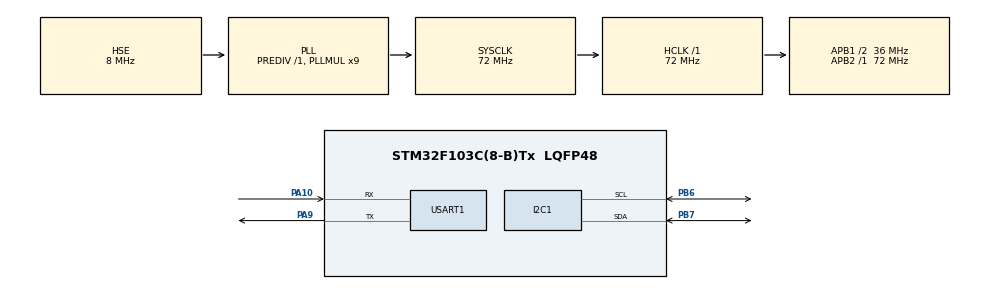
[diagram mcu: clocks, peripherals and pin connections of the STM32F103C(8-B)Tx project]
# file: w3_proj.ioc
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I2C1.DutyCycle=I2C_DUTYCYCLE_2
I2C1.I2C_Mode=I2C_Fast
Mcu.Family=STM32F1
Mcu.Name=STM32F103C(8-B)Tx
Mcu.Package=LQFP48
NVIC.PriorityGroup=NVIC_PRIORITYGROUP_4
NVIC.TIM2_IRQn=true\:5\:0\:true\:false\:true\:true\:true\:true
NVIC.USART1_IRQn=true\:0\:0\:false\:false\:true\:true\:true\:true
PA10.Mode=Asynchronous
PA10.Signal=USART1_RX
PA13.Mode=Serial_Wire
PA13.Signal=SYS_JTMS-SWDIO
PA14.Mode=Serial_Wire
PA14.Signal=SYS_JTCK-SWCLK
PA9.Mode=Asynchronous
PA9.Signal=USART1_TX
PB6.Mode=I2C
PB6.Signal=I2C1_SCL
PB7.Mode=I2C
PB7.Signal=I2C1_SDA
PD0-OSC_IN.Mode=HSE-External-Oscillator
PD0-OSC_IN.Signal=RCC_OSC_IN
PD1-OSC_OUT.Mode=HSE-External-Oscillator
PD1-OSC_OUT.Signal=RCC_OSC_OUT
ProjectManager.HeapSize=0x200
ProjectManager.StackSize=0x400
ProjectManager.TargetToolchain=Makefile
RCC.AHBFreq_Value=72000000
RCC.APB1CLKDivider=RCC_HCLK_DIV2
RCC.APB1Freq_Value=36000000
RCC.APB1TimFreq_Value=72000000
RCC.APB2Freq_Value=72000000
RCC.APB2TimFreq_Value=72000000
RCC.HCLKFreq_Value=72000000
RCC.PLLMUL=RCC_PLL_MUL9
RCC.PLLSourceVirtual=RCC_PLLSOURCE_HSE
RCC.SYSCLKFreq_VALUE=72000000
RCC.SYSCLKSource=RCC_SYSCLKSOURCE_PLLCLK
RCC.USBFreq_Value=72000000
TIM2.Period=10000-1
TIM2.Prescaler=72-1
USART1.VirtualMode=VM_ASYNC
VP_TIM2_VS_ClockSourceINT.Mode=Internal
board=custom

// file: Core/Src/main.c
/* USER CODE BEGIN Header */
/**
 ******************************************************************************
 * @file           : main.c
 * @brief          : Main program body
 ******************************************************************************
 * @attention
 *
 * Copyright (c) 2026 STMicroelectronics.
 * All rights reserved.
 *
 * This software is licensed under terms that can be found in the LICENSE file
 * in the root directory of this software component.
 * If no LICENSE file comes with this software, it is provided AS-IS.
 *
 ******************************************************************************
 */
/* USER CODE END Header */
#include "main.h"

/* USER CODE BEGIN Includes */
#include "OLED.h"
#include "math.h"
/* USER CODE END Includes */

I2C_HandleTypeDef hi2c1;

TIM_HandleTypeDef htim2;

UART_HandleTypeDef huart1;

void SystemClock_Config(void);
static void MX_GPIO_Init(void);
static void MX_I2C1_Init(void);
static void MX_TIM2_Init(void);
static void MX_USART1_UART_Init(void);

/* USER CODE BEGIN 0 */

enum
{
  Idle = 0,
  Processing,
} volatile wave_state = Idle;
/**
 * [0]: Sine wave    T = 1s   -> 1s / 10ms = 100 points
 * [1]: Sawtooth     T = 0.5s -> 50 points
 * [2]: Square       T = 1.5s -> 150 points
 */
const uint8_t wave_T[] = {100, 50, 150};
/* 幅值 A(零到峰值), 峰峰值为 2A */
const float wave_A[] = {2.0f, 1.0f, 0.5f};
volatile uint8_t current_pos = 0;

void SendJustFloatData(float *data, uint8_t len)
{
  uint8_t i;
  uint8_t *p = (uint8_t *)data;
  for (i = 0; i < len * sizeof(float); i++)
  {
    HAL_UART_Transmit(&huart1, p + i, 1, 10);
  }
  static const uint8_t subfix[] = {0x00, 0x00, 0x80, 0x7F};
  HAL_UART_Transmit(&huart1, subfix, 4, 10);
}

/* read single byte -> char */
uint8_t rx_buf;
/*
output mode:
1: sine wave
2: sawtooth wave
3: square wave
*/
struct
{
  uint8_t mode;
  uint8_t state;
} volatile output_mode = {1, 1};

void HAL_TIM_PeriodElapsedCallback(TIM_HandleTypeDef *htim)
{
  if (htim == &htim2) // Check if the interrupt is from TIM2
  {
    if (wave_state == Idle)
    {
      wave_state = Processing;
      current_pos++;
      current_pos %= wave_T[output_mode.mode - 1];
    }
  }
}

const char *output_mode_str[] = {
    "Sine    ",
    "Sawtooth",
    "Square  ",
};

void HAL_UART_RxCpltCallback(UART_HandleTypeDef *huart)
{
  if (huart == &huart1)
  {
    /* process input value */
    switch (rx_buf)
    {
    case '1':
    case '2':
    case '3':
      uint8_t new_mode = rx_buf - '0';
      /* need refresh */
      if (new_mode != output_mode.mode)
      {
        current_pos = 0;
        wave_state = Processing;
        output_mode.mode = rx_buf - '0';
        output_mode.state = 1;
      }
      break;
    default:
      break;
    }
    /* 再次启动原因: 中断只会触发一次, 需要再次启动中断等待后续数据接收 */
    HAL_UART_Receive_IT(&huart1, &rx_buf, 1);
  }
}

/* USER CODE END 0 */

int main(void)
{

  /* MCU Configuration--------------------------------------------------------*/

  /* Reset of all peripherals, Initializes the Flash interface and the Systick. */
  HAL_Init();

  /* Configure the system clock */
  SystemClock_Config();

  /* Initialize all configured peripherals */
  MX_GPIO_Init();
  MX_I2C1_Init();
  MX_TIM2_Init();
  MX_USART1_UART_Init();
  /* USER CODE BEGIN 2 */
  /* 启动必要的中断 */
  HAL_TIM_Base_Start_IT(&htim2);
  HAL_UART_Receive_IT(&huart1, &rx_buf, 1);
  /* 初始化SSD1306 */
  OLED_init();
  OLED_display_on();
  /* 清屏 */
  OLED_operate_gram(PEN_CLEAR);
  OLED_refresh_gram();
  /* USER CODE END 2 */

  /* Infinite loop */
  while (1)
  {

    /* USER CODE BEGIN 3 */
    if (output_mode.state == 1)
    {
      // OLED_operate_gram(PEN_CLEAR);
      OLED_show_string(0, 0, (uint8_t *)output_mode_str[output_mode.mode - 1]);
      OLED_refresh_gram();
      output_mode.state = 0;
    }

    if (wave_state == Processing)
    {
      /* 用点序号算相位: 0 ~ N-1 对应一个完整周期
         N = T / 10ms, 所以点数和周期是分开的两个概念 */
      uint8_t idx = output_mode.mode - 1;
      uint8_t N = wave_T[idx];
      float data = 0.0f;
      switch (output_mode.mode)
      {
      case 1: // Sine wave: sin(2*pi*pos/N) 取值 -1~1, 再乘幅值 2
        data = wave_A[idx] * sinf(2 * (float)M_PI * current_pos / N);
        break;
      case 2: // Sawtooth wave: -1 匀速升到接近 1, 周期末跳回 -1
        data = wave_A[idx] * (2.0f * current_pos / (float)N - 1.0f);
        break;
      case 3: // Square wave: 前一半为 +1, 后一半为 -1 (占空比 50%)
        data = wave_A[idx] * ((current_pos < N / 2) ? 1.0f : -1.0f);
        break;
      }
      SendJustFloatData(&data, 1);
      wave_state = Idle;
    }
  }
  /* USER CODE END 3 */
}

void SystemClock_Config(void)
{
  RCC_OscInitTypeDef RCC_OscInitStruct = {0};
  RCC_ClkInitTypeDef RCC_ClkInitStruct = {0};

  /** Initializes the RCC Oscillators according to the specified parameters
  * in the RCC_OscInitTypeDef structure.
  */
  RCC_OscInitStruct.OscillatorType = RCC_OSCILLATORTYPE_HSE;
  RCC_OscInitStruct.HSEState = RCC_HSE_ON;
  RCC_OscInitStruct.HSEPredivValue = RCC_HSE_PREDIV_DIV1;
  RCC_OscInitStruct.HSIState = RCC_HSI_ON;
  RCC_OscInitStruct.PLL.PLLState = RCC_PLL_ON;
  RCC_OscInitStruct.PLL.PLLSource = RCC_PLLSOURCE_HSE;
  RCC_OscInitStruct.PLL.PLLMUL = RCC_PLL_MUL9;
  if (HAL_RCC_OscConfig(&RCC_OscInitStruct) != HAL_OK)
  {
    Error_Handler();
  }

  /** Initializes the CPU, AHB and APB buses clocks
  */
  RCC_ClkInitStruct.ClockType = RCC_CLOCKTYPE_HCLK|RCC_CLOCKTYPE_SYSCLK
                              |RCC_CLOCKTYPE_PCLK1|RCC_CLOCKTYPE_PCLK2;
  RCC_ClkInitStruct.SYSCLKSource = RCC_SYSCLKSOURCE_PLLCLK;
  RCC_ClkInitStruct.AHBCLKDivider = RCC_SYSCLK_DIV1;
  RCC_ClkInitStruct.APB1CLKDivider = RCC_HCLK_DIV2;
  RCC_ClkInitStruct.APB2CLKDivider = RCC_HCLK_DIV1;

  if (HAL_RCC_ClockConfig(&RCC_ClkInitStruct, FLASH_LATENCY_2) != HAL_OK)
  {
    Error_Handler();
  }
}

static void MX_I2C1_Init(void)
{

  hi2c1.Instance = I2C1;
  hi2c1.Init.ClockSpeed = 400000;
  hi2c1.Init.DutyCycle = I2C_DUTYCYCLE_2;
  hi2c1.Init.OwnAddress1 = 0;
  hi2c1.Init.AddressingMode = I2C_ADDRESSINGMODE_7BIT;
  hi2c1.Init.DualAddressMode = I2C_DUALADDRESS_DISABLE;
  hi2c1.Init.OwnAddress2 = 0;
  hi2c1.Init.GeneralCallMode = I2C_GENERALCALL_DISABLE;
  hi2c1.Init.NoStretchMode = I2C_NOSTRETCH_DISABLE;
  if (HAL_I2C_Init(&hi2c1) != HAL_OK)
  {
    Error_Handler();
  }

}

static void MX_TIM2_Init(void)
{

  TIM_ClockConfigTypeDef sClockSourceConfig = {0};
  TIM_MasterConfigTypeDef sMasterConfig = {0};

  htim2.Instance = TIM2;
  htim2.Init.Prescaler = 72-1;
  htim2.Init.CounterMode = TIM_COUNTERMODE_UP;
  htim2.Init.Period = 10000-1;
  htim2.Init.ClockDivision = TIM_CLOCKDIVISION_DIV1;
  htim2.Init.AutoReloadPreload = TIM_AUTORELOAD_PRELOAD_DISABLE;
  if (HAL_TIM_Base_Init(&htim2) != HAL_OK)
  {
    Error_Handler();
  }
  sClockSourceConfig.ClockSource = TIM_CLOCKSOURCE_INTERNAL;
  if (HAL_TIM_ConfigClockSource(&htim2, &sClockSourceConfig) != HAL_OK)
  {
    Error_Handler();
  }
  sMasterConfig.MasterOutputTrigger = TIM_TRGO_RESET;
  sMasterConfig.MasterSlaveMode = TIM_MASTERSLAVEMODE_DISABLE;
  if (HAL_TIMEx_MasterConfigSynchronization(&htim2, &sMasterConfig) != HAL_OK)
  {
    Error_Handler();
  }

}

static void MX_USART1_UART_Init(void)
{

  huart1.Instance = USART1;
  huart1.Init.BaudRate = 115200;
  huart1.Init.WordLength = UART_WORDLENGTH_8B;
  huart1.Init.StopBits = UART_STOPBITS_1;
  huart1.Init.Parity = UART_PARITY_NONE;
  huart1.Init.Mode = UART_MODE_TX_RX;
  huart1.Init.HwFlowCtl = UART_HWCONTROL_NONE;
  huart1.Init.OverSampling = UART_OVERSAMPLING_16;
  if (HAL_UART_Init(&huart1) != HAL_OK)
  {
    Error_Handler();
  }

}

static void MX_GPIO_Init(void)
{

  /* GPIO Ports Clock Enable */
  __HAL_RCC_GPIOD_CLK_ENABLE();
  __HAL_RCC_GPIOA_CLK_ENABLE();
  __HAL_RCC_GPIOB_CLK_ENABLE();

}

void Error_Handler(void)
{
  __disable_irq();
  while (1)
  {
  }
}
